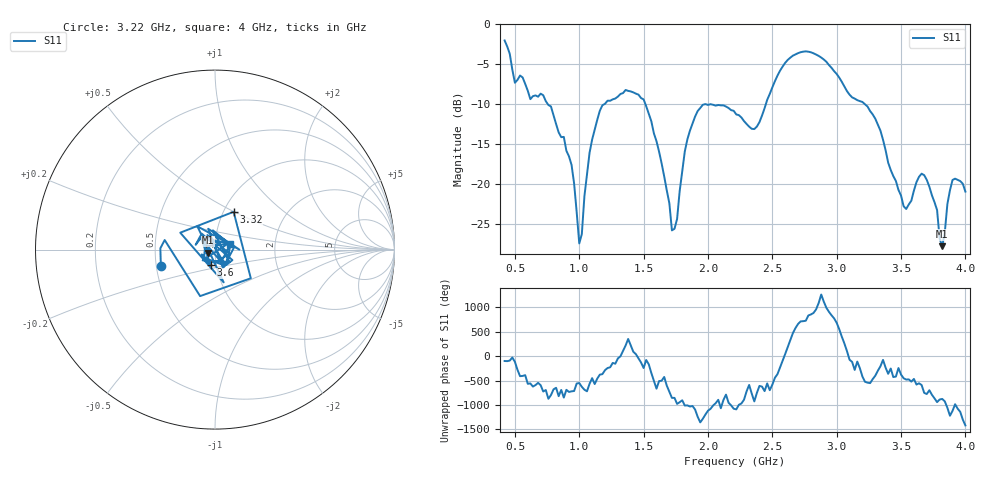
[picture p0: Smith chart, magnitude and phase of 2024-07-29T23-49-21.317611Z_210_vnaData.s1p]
!Created with skrf (http://scikit-rf.org).
# Hz S RI R 50.0
!freq ReS11 ImS11
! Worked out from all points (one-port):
!   180 points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, 420 MHz to 4 GHz, reference 50 ohm
!   lowest |S11| = -27.8 dB at 3.82 GHz (marker M1), VSWR 1.09, Z = 46.4 - j1.61 ohm
!   |S11| at or under -10 dB: 754.7 MHz to 1.197 GHz (442.7 MHz wide, 45.4 % of centre); 1.513 GHz to 2.45 GHz (936.6 MHz wide, 47.3 % of centre); 3.217 GHz to end of sweep
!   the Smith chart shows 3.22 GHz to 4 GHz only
!   S11 on the Smith chart (normalised r, x): 3.22 GHz: 0.53, -0.11; 3.32 GHz: 1.11, +0.50; 3.6 GHz: 0.94, -0.17; 4 GHz: 1.18, +0.08
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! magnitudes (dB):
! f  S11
! 420 MHz  -2.1
! 500 MHz  -7.3
! 720 MHz  -8.9
! 880 MHz  -14.1
! 940 MHz  -17.6
! 1 GHz  -27.4
! 1.08 GHz  -16.1
! 1.14 GHz  -12.0
! 1.32 GHz  -8.7
! 1.52 GHz  -10.3
! 1.64 GHz  -17.4
! 1.72 GHz  -25.8
! 1.78 GHz  -20.9
! 1.84 GHz  -14.4
! 1.92 GHz  -10.9
! 2.22 GHz  -11.3
! 2.38 GHz  -12.8
! 2.66 GHz  -4.0
! 2.88 GHz  -4.2
! 3.12 GHz  -9.2
! 3.22 GHz  -10.0
! 3.32 GHz  -12.6
! 3.56 GHz  -22.6
! 3.6 GHz  -20.8
! 3.7 GHz  -19.5
! 3.82 GHz  -27.8
! 3.9 GHz  -19.5
! 4 GHz  -21.0
